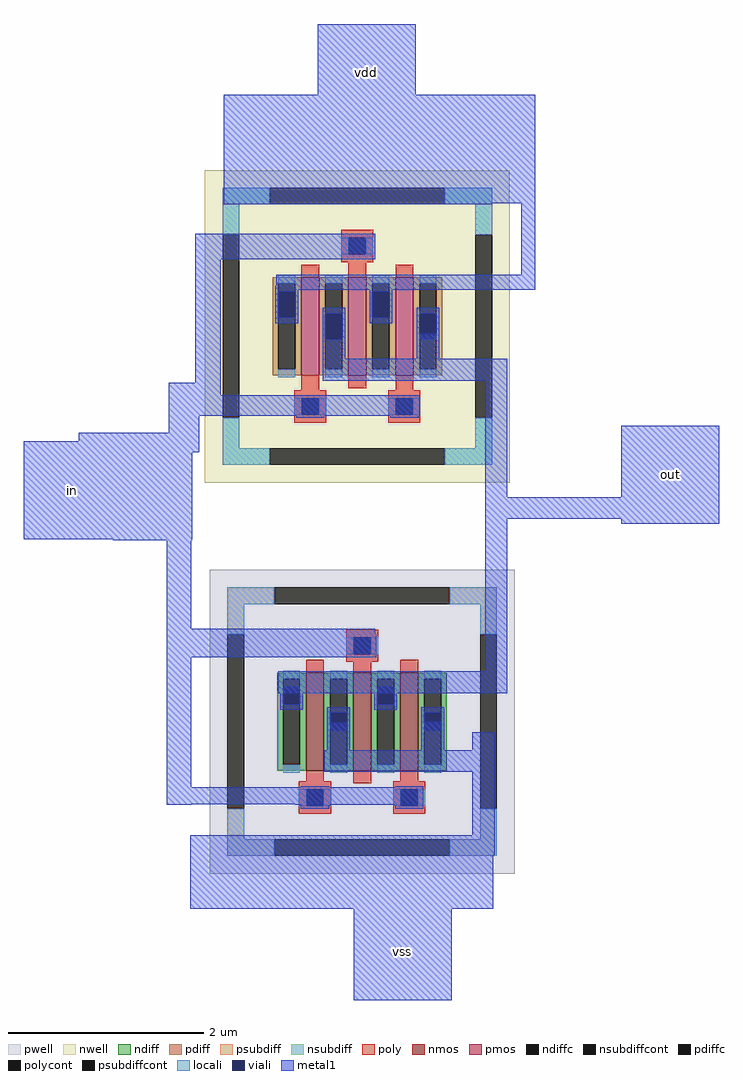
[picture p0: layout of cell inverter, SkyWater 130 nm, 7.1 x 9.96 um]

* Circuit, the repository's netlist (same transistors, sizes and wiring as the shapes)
** sch_path: /home/jan/projects/cvut/VLSI-LAB/repos/2022_PV_Workshop/xschem/inverter.sch
.subckt inverter vdd vss in out
*.PININFO vdd:B vss:B in:I out:O
XM1 out in vss vss sky130_fd_pr__nfet_01v8 L=0.18 W=3 nf=3 ad='int((nf+1)/2) * W/nf * 0.29' as='int((nf+2)/2) * W/nf * 0.29'
+ pd='2*int((nf+1)/2) * (W/nf + 0.29)' ps='2*int((nf+2)/2) * (W/nf + 0.29)' nrd='0.29 / W' nrs='0.29 / W'
+ sa=0 sb=0 sd=0 mult=1 m=1
XM2 out in vdd vdd sky130_fd_pr__pfet_01v8 L=0.18 W=3 nf=3 ad='int((nf+1)/2) * W/nf * 0.29' as='int((nf+2)/2) * W/nf * 0.29'
+ pd='2*int((nf+1)/2) * (W/nf + 0.29)' ps='2*int((nf+2)/2) * (W/nf + 0.29)' nrd='0.29 / W' nrs='0.29 / W'
+ sa=0 sb=0 sd=0 mult=1 m=1
.ends
.end

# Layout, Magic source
magic
tech sky130A
magscale 1 2
<< metal1 >>
rect 922 1376 1122 1520
rect 730 1154 1366 1376
rect 730 1152 1278 1154
rect 672 1040 1040 1092
rect 672 788 724 1040
rect 1338 1008 1366 1154
rect 838 978 1366 1008
rect 1126 880 1166 888
rect 932 837 978 874
rect 1124 837 1170 880
rect 932 792 1309 837
rect 618 762 724 788
rect 618 720 1130 762
rect 618 686 680 720
rect 434 668 680 686
rect 322 646 680 668
rect 322 468 666 646
rect 504 466 666 468
rect 1264 554 1309 792
rect 1542 554 1742 700
rect 1264 510 1742 554
rect 614 286 664 466
rect 614 228 1040 286
rect 614 -38 664 228
rect 1264 199 1309 510
rect 1542 500 1742 510
rect 842 154 1309 199
rect 942 38 988 94
rect 1134 38 1180 96
rect 1238 38 1284 74
rect 936 -6 1284 38
rect 614 -72 1136 -38
rect 614 -74 664 -72
rect 876 -74 1136 -72
rect 1238 -136 1284 -6
rect 662 -176 1284 -136
rect 662 -286 1280 -176
rect 996 -472 1196 -286
use sky130_fd_pr__pfet_01v8_72SH2U  XM2
transform 1 0 1003 0 1 903
box -311 -319 311 319
use sky130_fd_pr__nfet_01v8_385SSZ  sky130_fd_pr__nfet_01v8_385SSZ_0
transform 1 0 1013 0 1 96
box -311 -310 311 310
<< labels >>
flabel metal1 922 1320 1122 1520 0 FreeSans 256 0 0 0 vdd
port 0 nsew
flabel metal1 996 -472 1196 -272 0 FreeSans 256 0 0 0 vss
port 1 nsew
flabel metal1 322 468 522 668 0 FreeSans 256 0 0 0 in
port 2 nsew
flabel metal1 1542 500 1742 700 0 FreeSans 256 0 0 0 out
port 3 nsew
<< end >>

# cell sky130_fd_pr__pfet_01v8_72SH2U: kit device sky130_fd_pr__pfet_01v8, w 1.0 l 0.18 m 1 nf 3 diffcov 100 polycov 100 guard 1 glc 1 grc 1 gtc 1 gbc 1 tbcov 100 rlcov 100 topc 1 botc 1 poverlap 0 doverlap 1 lmin 0.15 wmin 0.42 compatible {sky130_fd_pr__pfet_01v8 sky130_fd_pr__pfet_01v8_lvt sky130_fd_pr__pfet_01v8_hvt sky130_fd_pr__pfet_g5v0d10v5} full_metal 1 viagl 0 viagr 0 viagt 0 viagb 0 viagate 100 viadrn -30 viasrc 30

# cell sky130_fd_pr__nfet_01v8_385SSZ: kit device sky130_fd_pr__nfet_01v8, w 1.0 l 0.18 m 1 nf 3 diffcov 100 polycov 100 guard 1 glc 1 grc 1 gtc 1 gbc 1 tbcov 100 rlcov 100 topc 1 botc 1 poverlap 0 doverlap 1 lmin 0.15 wmin 0.42 compatible {sky130_fd_pr__nfet_01v8 sky130_fd_pr__nfet_01v8_lvt sky130_fd_bs_flash__special_sonosfet_star sky130_fd_pr__nfet_g5v0d10v5 sky130_fd_pr__nfet_05v0_nvt} full_metal 1 viasrc 20 viadrn -20 viagate 100 viagb 0 viagr 0 viagl 0 viagt 0
